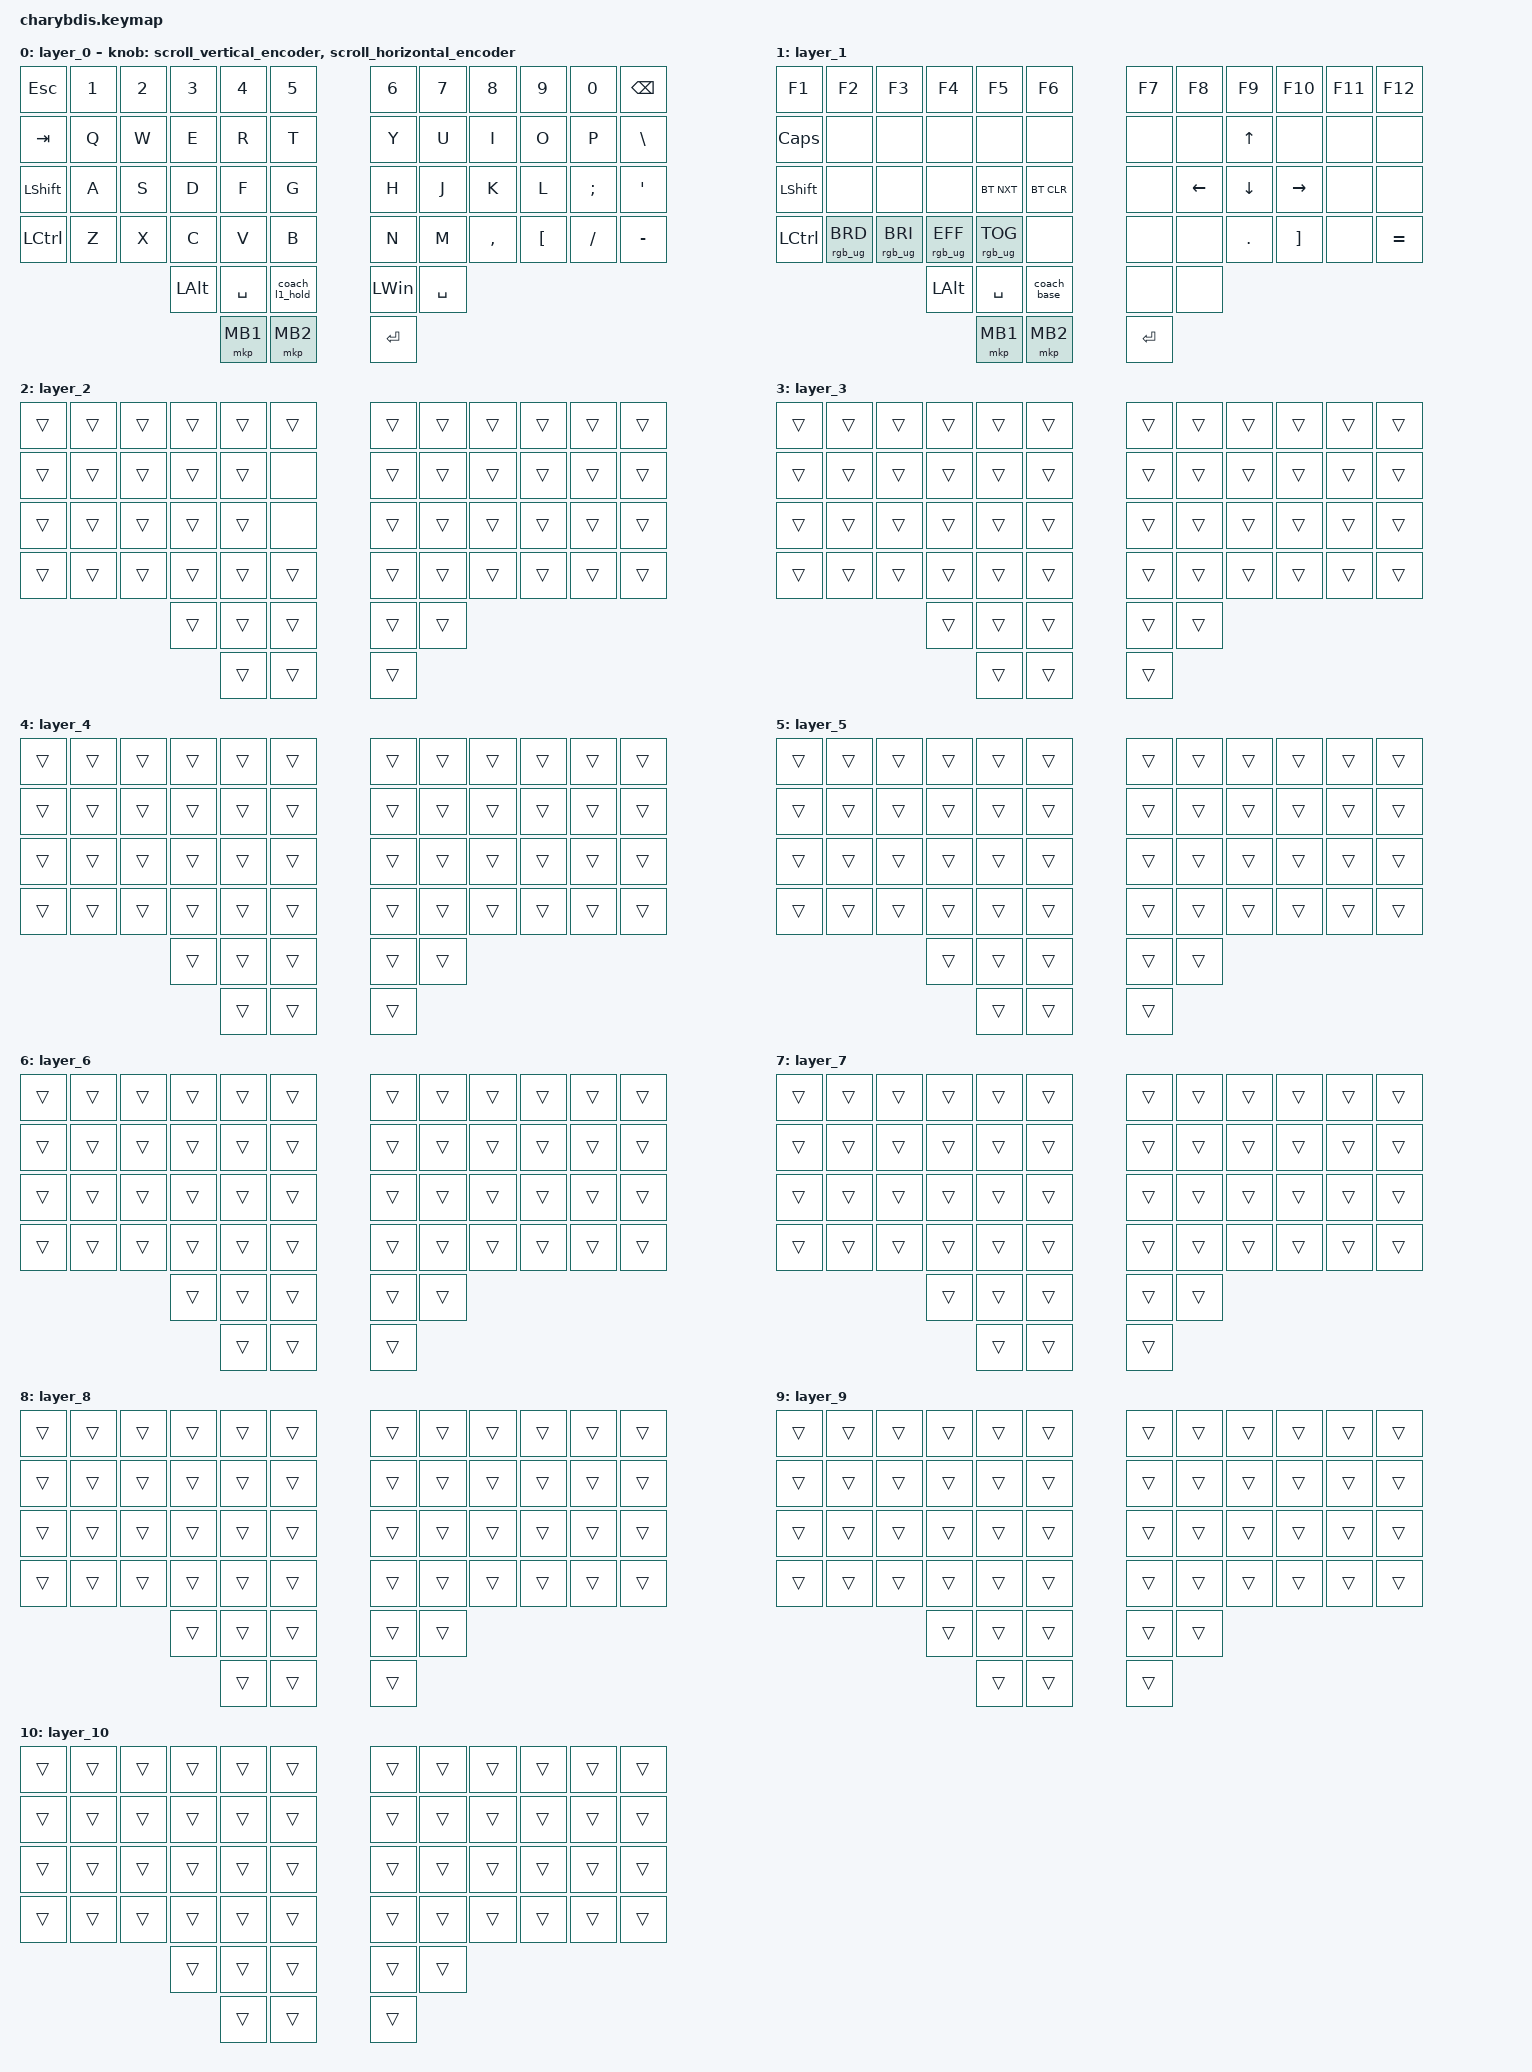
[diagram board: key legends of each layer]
#include <dt-bindings/zmk/mouse.h>
#include <input/processors.dtsi>
#include <zephyr/dt-bindings/input/input-event-codes.h>
#include <behaviors.dtsi>
#include <dt-bindings/zmk/bt.h>
#include <dt-bindings/zmk/keys.h>
#include <dt-bindings/zmk/pointing.h>
#include <dt-bindings/zmk/rgb.h>

#define ZMK_POINTING_DEFAULT_MOVE_VAL 1000 // 600
#define ZMK_POINTING_DEFAULT_SCRL_VAL 12   // 10

&lt {
    tapping-term-ms = <200>;
    flavor = "balanced";
    quick-tap-ms = <150>;
};

&mmv_input_listener { input-processors = <&zip_xy_scaler 2 1>; };

&msc_input_listener { input-processors = <&zip_scroll_scaler 2 1>; };

&msc {
    acceleration-exponent = <0>;      // 0
    time-to-max-speed-ms = <100>;       // 300
    delay-ms = <0>;                   // 0
};

&mmv {
    time-to-max-speed-ms = <500>;
    acceleration-exponent = <1>;
    trigger-period-ms = <16>;
};

/ {
    #include "coach_beacon_macros.keymap.dtsi"
    // Beacon macros wired for coach (layer state over BLE).
    // coach_* behaviors replace &mo / &to / &tog for monitored layers.
    // See coach_beacon_macros.keymap.dtsi and docs/ADD_BEACONS_GUIDE.md
    // Note: Rich 616-binding layout maintained via ZMK Studio (apply scripts). This keymap is build base + macros + pointing.

    // 上下滚动编码器行为

    scroll_vertical_encoder: scroll_vertical_encoder {
        compatible = "zmk,behavior-sensor-rotate";
        #sensor-binding-cells = <0>;
        bindings = <&msc SCRL_DOWN>, <&msc SCRL_UP>;

        tap-ms = <100>;
    };

    // 左右滚动编码器行为

    scroll_horizontal_encoder: scroll_horizontal_encoder {
        compatible = "zmk,behavior-sensor-rotate";
        #sensor-binding-cells = <0>;
        bindings = <&msc SCRL_LEFT>, <&msc SCRL_RIGHT>;

        tap-ms = <100>;
    };

    behaviors {
    };

    macros {
        To1_macro: To1_macro {
            compatible = "zmk,behavior-macro";
            label = "To1_macro";
            #binding-cells = <0>;
            bindings = <&rgb_ug RGB_EFF &rgb_ug RGB_COLOR_HSB(128,100,50) &to 1>;
        };

        To1_macro_A: To1_macro_A {
            compatible = "zmk,behavior-macro";
            label = "To1_macro_A";
            #binding-cells = <0>;
            bindings = <&rgb_ug RGB_COLOR_HSB(128,100,50) &to 1>;
        };

        To0_macro: To0_macro {
            compatible = "zmk,behavior-macro";
            label = "To0_macro";
            #binding-cells = <0>;
            bindings = <&rgb_ug RGB_EFR &to 0>;
        };

        To2_macro_A: To2_macro_A {
            compatible = "zmk,behavior-macro";
            label = "To2_macro_A";
            #binding-cells = <0>;
            bindings = <&rgb_ug RGB_COLOR_HSB(250,100,50) &to 2>;
        };

        To2_macro: To2_macro {
            compatible = "zmk,behavior-macro";
            label = "To2_macro";
            #binding-cells = <0>;
            bindings = <&rgb_ug RGB_EFF &rgb_ug RGB_COLOR_HSB(250,100,50) &to 2>;
        };
    };

    keymap {
        compatible = "zmk,keymap";

        layer_0 {
            bindings = <
&kp ESC         &kp N1  &kp N2  &kp N3        &kp N4     &kp N5      &kp N6     &kp N7     &kp N8     &kp N9            &kp N0    &kp BACKSPACE
&kp TAB         &kp Q   &kp W   &kp E         &kp R      &kp T       &kp Y      &kp U      &kp I      &kp O             &kp P     &kp BSLH
&kp LEFT_SHIFT  &kp A   &kp S   &kp D         &kp F      &kp G       &kp H      &kp J      &kp K      &kp L             &kp SEMI  &kp SQT
&kp LCTRL       &kp Z   &kp X   &kp C         &kp V      &kp B       &kp N      &kp M      &kp COMMA  &kp LEFT_BRACKET  &kp FSLH  &kp MINUS
                                &kp LEFT_ALT  &kp SPACE  &coach_l1_hold &kp LWIN   &kp SPACE
                                              &mkp MB1   &mkp MB2    &kp ENTER
            >;

            sensor-bindings =
                <&scroll_vertical_encoder>,
                // 编码器1：上下滚动,,
                <&scroll_horizontal_encoder>;

            // 编码器2：左右滚动
        };

        layer_1 {
            bindings = <
&kp F1          &kp F2           &kp F3           &kp F4           &kp F5           &kp F6        &kp F7     &kp F8    &kp F9      &kp F10            &kp F11  &kp F12
&kp CAPS        &none            &none            &none            &none            &none         &none      &none     &kp UP      &none              &none    &none
&kp LEFT_SHIFT  &none            &none            &none            &bt BT_NXT       &bt BT_CLR    &none      &kp LEFT  &kp DOWN    &kp RIGHT          &none    &none
&kp LCTRL       &rgb_ug RGB_BRD  &rgb_ug RGB_BRI  &rgb_ug RGB_EFF  &rgb_ug RGB_TOG  &none         &none      &none     &kp PERIOD  &kp RIGHT_BRACKET  &none    &kp EQUAL
                                                  &kp LEFT_ALT     &kp SPACE        &coach_base   &none      &none
                                                                   &mkp MB1         &mkp MB2      &kp ENTER
            >;
        };

        layer_2 {
            bindings = <
&trans  &trans  &trans  &trans  &trans  &trans    &trans  &trans  &trans  &trans  &trans  &trans
&trans  &trans  &trans  &trans  &trans  &none     &trans  &trans  &trans  &trans  &trans  &trans
&trans  &trans  &trans  &trans  &trans  &none     &trans  &trans  &trans  &trans  &trans  &trans
&trans  &trans  &trans  &trans  &trans  &trans    &trans  &trans  &trans  &trans  &trans  &trans
                        &trans  &trans  &trans    &trans  &trans
                                &trans  &trans    &trans
            >;
        };

        layer_3 {
            bindings = <
&trans  &trans  &trans  &trans  &trans  &trans    &trans  &trans  &trans  &trans  &trans  &trans
&trans  &trans  &trans  &trans  &trans  &trans    &trans  &trans  &trans  &trans  &trans  &trans
&trans  &trans  &trans  &trans  &trans  &trans    &trans  &trans  &trans  &trans  &trans  &trans
&trans  &trans  &trans  &trans  &trans  &trans    &trans  &trans  &trans  &trans  &trans  &trans
                        &trans  &trans  &trans    &trans  &trans
                                &trans  &trans    &trans
            >;
        };

        layer_4 {
            bindings = <
&trans  &trans  &trans  &trans  &trans  &trans    &trans  &trans  &trans  &trans  &trans  &trans
&trans  &trans  &trans  &trans  &trans  &trans    &trans  &trans  &trans  &trans  &trans  &trans
&trans  &trans  &trans  &trans  &trans  &trans    &trans  &trans  &trans  &trans  &trans  &trans
&trans  &trans  &trans  &trans  &trans  &trans    &trans  &trans  &trans  &trans  &trans  &trans
                        &trans  &trans  &trans    &trans  &trans
                                &trans  &trans    &trans
            >;
        };

        layer_5 {
            bindings = <
&trans  &trans  &trans  &trans  &trans  &trans    &trans  &trans  &trans  &trans  &trans  &trans
&trans  &trans  &trans  &trans  &trans  &trans    &trans  &trans  &trans  &trans  &trans  &trans
&trans  &trans  &trans  &trans  &trans  &trans    &trans  &trans  &trans  &trans  &trans  &trans
&trans  &trans  &trans  &trans  &trans  &trans    &trans  &trans  &trans  &trans  &trans  &trans
                        &trans  &trans  &trans    &trans  &trans
                                &trans  &trans    &trans
            >;
        };

        layer_6 {
            bindings = <
&trans  &trans  &trans  &trans  &trans  &trans    &trans  &trans  &trans  &trans  &trans  &trans
&trans  &trans  &trans  &trans  &trans  &trans    &trans  &trans  &trans  &trans  &trans  &trans
&trans  &trans  &trans  &trans  &trans  &trans    &trans  &trans  &trans  &trans  &trans  &trans
&trans  &trans  &trans  &trans  &trans  &trans    &trans  &trans  &trans  &trans  &trans  &trans
                        &trans  &trans  &trans    &trans  &trans
                                &trans  &trans    &trans
            >;
        };

        layer_7 {
            bindings = <
&trans  &trans  &trans  &trans  &trans  &trans    &trans  &trans  &trans  &trans  &trans  &trans
&trans  &trans  &trans  &trans  &trans  &trans    &trans  &trans  &trans  &trans  &trans  &trans
&trans  &trans  &trans  &trans  &trans  &trans    &trans  &trans  &trans  &trans  &trans  &trans
&trans  &trans  &trans  &trans  &trans  &trans    &trans  &trans  &trans  &trans  &trans  &trans
                        &trans  &trans  &trans    &trans  &trans
                                &trans  &trans    &trans
            >;
        };

        layer_8 {
            bindings = <
&trans  &trans  &trans  &trans  &trans  &trans    &trans  &trans  &trans  &trans  &trans  &trans
&trans  &trans  &trans  &trans  &trans  &trans    &trans  &trans  &trans  &trans  &trans  &trans
&trans  &trans  &trans  &trans  &trans  &trans    &trans  &trans  &trans  &trans  &trans  &trans
&trans  &trans  &trans  &trans  &trans  &trans    &trans  &trans  &trans  &trans  &trans  &trans
                        &trans  &trans  &trans    &trans  &trans
                                &trans  &trans    &trans
            >;
        };

        layer_9 {
            bindings = <
&trans  &trans  &trans  &trans  &trans  &trans    &trans  &trans  &trans  &trans  &trans  &trans
&trans  &trans  &trans  &trans  &trans  &trans    &trans  &trans  &trans  &trans  &trans  &trans
&trans  &trans  &trans  &trans  &trans  &trans    &trans  &trans  &trans  &trans  &trans  &trans
&trans  &trans  &trans  &trans  &trans  &trans    &trans  &trans  &trans  &trans  &trans  &trans
                        &trans  &trans  &trans    &trans  &trans
                                &trans  &trans    &trans
            >;
        };

        layer_10 {
            bindings = <
&trans  &trans  &trans  &trans  &trans  &trans    &trans  &trans  &trans  &trans  &trans  &trans
&trans  &trans  &trans  &trans  &trans  &trans    &trans  &trans  &trans  &trans  &trans  &trans
&trans  &trans  &trans  &trans  &trans  &trans    &trans  &trans  &trans  &trans  &trans  &trans
&trans  &trans  &trans  &trans  &trans  &trans    &trans  &trans  &trans  &trans  &trans  &trans
                        &trans  &trans  &trans    &trans  &trans
                                &trans  &trans    &trans
            >;
        };

        /* layer_2 {
            bindings = <
&none  &none   &none    &none   &none         &none         &kp N1         &none         &none     &none  &none   &to 0
&none  &none   &none    &none   &none         &none         &none         &none          &rgb_ug RGB_BRD &rgb_ug RGB_BRI  &rgb_ug RGB_EFF   &rgb_ug RGB_TOG
&none  &none   &none    &none   &none         &none         &none         &mkp LCLK     &mkp RCLK  &none  &none   &none
&none  &none   &none    &none   &bt BT_NXT  &bt BT_CLR    &none         &none         &none     &none  &none   &none
                                   &none         &none         &none         &none         &none
                                                 &none         &none         &none
            >;
       
            
        };

       Mouse {
            bindings = <
&none        &none         &none         &none         &none      &none         &none       &none      &none         &none         &none         &none
&none        &bt BT_SEL 0  &bt BT_SEL 1  &bt BT_SEL 3  &none      &bt BT_CLR    &bt BT_CLR  &none      &bt BT_SEL 2  &bt BT_SEL 1  &bt BT_SEL 0  &none
&none        &trans        &trans        &mkp MCLK     &trans     &none         &none       &trans     &mkp MCLK     &trans        &trans        &none
&bootloader  &trans        &mkp RCLK     &mo 4         &mkp LCLK  &mo 5         &mo 5       &mkp LCLK  &mo 4         &mkp RCLK     &trans        &bootloader
                                         &mo 5         &mkp LCLK  &mkp RCLK     &mkp RCLK   &mkp LCLK
                                                       &none      &trans        &trans
            >;

            
        };

        layer_4 {
            bindings = <
&trans  &trans  &trans     &trans     &trans     &trans       &trans     &trans     &trans     &trans     &trans  &trans
&trans  &trans  &trans     &trans     &trans     &trans       &trans     &trans     &trans     &trans     &trans  &trans
&trans  &trans  &trans     &mkp MCLK  &trans     &trans       &trans     &trans     &mkp MCLK  &trans     &trans  &trans
&trans  &trans  &mkp RCLK  &trans     &mkp LCLK  &trans       &trans     &mkp LCLK  &trans     &mkp RCLK  &trans  &trans
                           &trans     &mkp LCLK  &mkp RCLK    &mkp RCLK  &mkp LCLK
                                      &trans     &trans       &trans
            >;
                
                
               
        };

        layer_5 {
            bindings = <
&trans  &trans  &trans     &trans     &trans     &trans       &trans     &trans     &trans     &trans     &trans  &trans
&trans  &trans  &trans     &trans     &trans     &trans       &trans     &trans     &trans     &trans     &trans  &trans
&trans  &trans  &trans     &mkp MCLK  &trans     &trans       &trans     &trans     &mkp MCLK  &trans     &trans  &trans
&trans  &trans  &mkp RCLK  &trans     &mkp LCLK  &trans       &trans     &mkp LCLK  &trans     &mkp RCLK  &trans  &trans
                           &trans     &mkp LCLK  &mkp RCLK    &mkp RCLK  &mkp LCLK
                                      &trans     &trans       &trans
            >;
                
                
        };*/
    };
};
